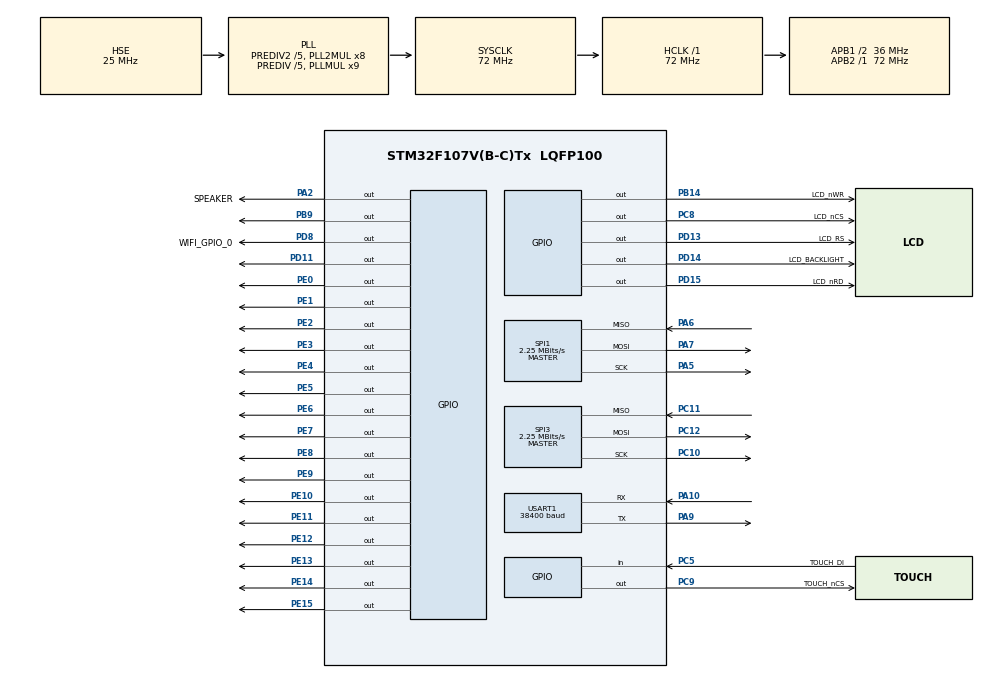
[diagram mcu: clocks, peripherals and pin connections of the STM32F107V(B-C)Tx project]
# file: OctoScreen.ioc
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Dma.Request0=USART1_RX
Dma.USART1_RX.0.Direction=DMA_PERIPH_TO_MEMORY
Dma.USART1_RX.0.Instance=DMA1_Channel5
Dma.USART1_RX.0.MemDataAlignment=DMA_MDATAALIGN_BYTE
Dma.USART1_RX.0.MemInc=DMA_MINC_ENABLE
Dma.USART1_RX.0.Mode=DMA_NORMAL
Dma.USART1_RX.0.PeriphDataAlignment=DMA_PDATAALIGN_BYTE
Dma.USART1_RX.0.PeriphInc=DMA_PINC_DISABLE
Dma.USART1_RX.0.Priority=DMA_PRIORITY_LOW
FREERTOS.HEAP_NUMBER=4
FREERTOS.Tasks01=defaultTask,0,512,StartDefaultTask,Default,NULL,Dynamic,NULL,NULL;serialTask,-1,512,StartSerialTask,Default,NULL,Dynamic,NULL,NULL
FREERTOS.configMINIMAL_STACK_SIZE=512
FREERTOS.configTOTAL_HEAP_SIZE=10240
Mcu.Family=STM32F1
Mcu.Name=STM32F107V(B-C)Tx
Mcu.Package=LQFP100
NVIC.DMA1_Channel5_IRQn=true\:5\:0\:false\:false\:true\:true\:false
NVIC.PriorityGroup=NVIC_PRIORITYGROUP_4
NVIC.TIM1_UP_IRQn=true\:0\:0\:false\:false\:true\:false\:false
NVIC.TimeBase=TIM1_UP_IRQn
NVIC.TimeBaseIP=TIM1
NVIC.USART1_IRQn=true\:5\:0\:false\:false\:true\:true\:true
OSC_IN.Mode=HSE-External-Oscillator
OSC_IN.Signal=RCC_OSC_IN
OSC_OUT.Mode=HSE-External-Oscillator
OSC_OUT.Signal=RCC_OSC_OUT
PA10.Mode=Asynchronous
PA10.Signal=USART1_RX
PA13.Mode=Serial_Wire
PA13.Signal=SYS_JTMS-SWDIO
PA14.Mode=Serial_Wire
PA14.Signal=SYS_JTCK-SWCLK
PA2.GPIO_Label=SPEAKER
PA2.PinState=GPIO_PIN_RESET
PA2.Signal=GPIO_Output
PA5.Mode=Full_Duplex_Master
PA5.Signal=SPI1_SCK
PA6.Mode=Full_Duplex_Master
PA6.Signal=SPI1_MISO
PA7.Mode=Full_Duplex_Master
PA7.Signal=SPI1_MOSI
PA9.Mode=Asynchronous
PA9.Signal=USART1_TX
PB14.GPIO_Label=LCD_nWR
PB14.GPIO_Speed=GPIO_SPEED_FREQ_HIGH
PB14.PinState=GPIO_PIN_SET
PB14.Signal=GPIO_Output
PB9.Signal=GPIO_Output
PC10.Mode=Full_Duplex_Master
PC10.Signal=SPI3_SCK
PC11.Mode=Full_Duplex_Master
PC11.Signal=SPI3_MISO
PC12.Mode=Full_Duplex_Master
PC12.Signal=SPI3_MOSI
PC5.GPIO_Label=TOUCH_DI
PC5.Signal=GPIO_Input
PC8.GPIO_Label=LCD_nCS
PC8.GPIO_Speed=GPIO_SPEED_FREQ_HIGH
PC8.PinState=GPIO_PIN_SET
PC8.Signal=GPIO_Output
PC9.GPIO_Label=TOUCH_nCS
PC9.GPIO_ModeDefaultOutputPP=GPIO_MODE_OUTPUT_PP
PC9.GPIO_Speed=GPIO_SPEED_FREQ_HIGH
PC9.PinState=GPIO_PIN_RESET
PC9.Signal=GPIO_Output
PD11.Signal=GPIO_Output
PD13.GPIO_Label=LCD_RS
PD13.GPIO_Speed=GPIO_SPEED_FREQ_HIGH
PD13.Signal=GPIO_Output
PD14.GPIO_Label=LCD_BACKLIGHT
PD14.Signal=GPIO_Output
PD15.GPIO_Label=LCD_nRD
PD15.GPIO_Speed=GPIO_SPEED_FREQ_HIGH
PD15.PinState=GPIO_PIN_SET
PD15.Signal=GPIO_Output
PD8.GPIO_Label=WIFI_GPIO_0
PD8.PinState=GPIO_PIN_SET
PD8.Signal=GPIO_Output
PE0.GPIO_ModeDefaultOutputPP=GPIO_MODE_OUTPUT_PP
PE0.GPIO_PuPd=GPIO_NOPULL
PE0.GPIO_Speed=GPIO_SPEED_FREQ_HIGH
PE0.PinState=GPIO_PIN_RESET
PE0.Signal=GPIO_Output
PE1.GPIO_ModeDefaultOutputPP=GPIO_MODE_OUTPUT_PP
PE1.GPIO_PuPd=GPIO_NOPULL
PE1.GPIO_Speed=GPIO_SPEED_FREQ_HIGH
PE1.PinState=GPIO_PIN_RESET
PE1.Signal=GPIO_Output
PE10.GPIO_ModeDefaultOutputPP=GPIO_MODE_OUTPUT_PP
PE10.GPIO_PuPd=GPIO_NOPULL
PE10.GPIO_Speed=GPIO_SPEED_FREQ_HIGH
PE10.PinState=GPIO_PIN_RESET
PE10.Signal=GPIO_Output
PE11.GPIO_ModeDefaultOutputPP=GPIO_MODE_OUTPUT_PP
PE11.GPIO_PuPd=GPIO_NOPULL
PE11.GPIO_Speed=GPIO_SPEED_FREQ_HIGH
PE11.PinState=GPIO_PIN_RESET
PE11.Signal=GPIO_Output
PE12.GPIO_ModeDefaultOutputPP=GPIO_MODE_OUTPUT_PP
PE12.GPIO_PuPd=GPIO_NOPULL
PE12.GPIO_Speed=GPIO_SPEED_FREQ_HIGH
PE12.PinState=GPIO_PIN_RESET
PE12.Signal=GPIO_Output
PE13.GPIO_ModeDefaultOutputPP=GPIO_MODE_OUTPUT_PP
PE13.GPIO_PuPd=GPIO_NOPULL
PE13.GPIO_Speed=GPIO_SPEED_FREQ_HIGH
PE13.PinState=GPIO_PIN_RESET
PE13.Signal=GPIO_Output
PE14.GPIO_ModeDefaultOutputPP=GPIO_MODE_OUTPUT_PP
PE14.GPIO_PuPd=GPIO_NOPULL
PE14.GPIO_Speed=GPIO_SPEED_FREQ_HIGH
PE14.PinState=GPIO_PIN_RESET
PE14.Signal=GPIO_Output
PE15.GPIO_ModeDefaultOutputPP=GPIO_MODE_OUTPUT_PP
PE15.GPIO_PuPd=GPIO_NOPULL
PE15.GPIO_Speed=GPIO_SPEED_FREQ_HIGH
PE15.PinState=GPIO_PIN_RESET
PE15.Signal=GPIO_Output
PE2.GPIO_ModeDefaultOutputPP=GPIO_MODE_OUTPUT_PP
PE2.GPIO_PuPd=GPIO_NOPULL
PE2.GPIO_Speed=GPIO_SPEED_FREQ_HIGH
PE2.PinState=GPIO_PIN_RESET
PE2.Signal=GPIO_Output
PE3.GPIO_ModeDefaultOutputPP=GPIO_MODE_OUTPUT_PP
PE3.GPIO_PuPd=GPIO_NOPULL
PE3.GPIO_Speed=GPIO_SPEED_FREQ_HIGH
PE3.PinState=GPIO_PIN_RESET
PE3.Signal=GPIO_Output
PE4.GPIO_ModeDefaultOutputPP=GPIO_MODE_OUTPUT_PP
PE4.GPIO_PuPd=GPIO_NOPULL
PE4.GPIO_Speed=GPIO_SPEED_FREQ_HIGH
PE4.PinState=GPIO_PIN_RESET
PE4.Signal=GPIO_Output
PE5.GPIO_ModeDefaultOutputPP=GPIO_MODE_OUTPUT_PP
PE5.GPIO_PuPd=GPIO_NOPULL
PE5.GPIO_Speed=GPIO_SPEED_FREQ_HIGH
PE5.PinState=GPIO_PIN_RESET
PE5.Signal=GPIO_Output
PE6.GPIO_ModeDefaultOutputPP=GPIO_MODE_OUTPUT_PP
PE6.GPIO_PuPd=GPIO_NOPULL
PE6.GPIO_Speed=GPIO_SPEED_FREQ_HIGH
PE6.PinState=GPIO_PIN_RESET
PE6.Signal=GPIO_Output
PE7.GPIO_ModeDefaultOutputPP=GPIO_MODE_OUTPUT_PP
PE7.GPIO_PuPd=GPIO_NOPULL
PE7.GPIO_Speed=GPIO_SPEED_FREQ_HIGH
PE7.PinState=GPIO_PIN_RESET
PE7.Signal=GPIO_Output
PE8.GPIO_ModeDefaultOutputPP=GPIO_MODE_OUTPUT_PP
PE8.GPIO_PuPd=GPIO_NOPULL
PE8.GPIO_Speed=GPIO_SPEED_FREQ_HIGH
PE8.PinState=GPIO_PIN_RESET
PE8.Signal=GPIO_Output
PE9.GPIO_ModeDefaultOutputPP=GPIO_MODE_OUTPUT_PP
PE9.GPIO_PuPd=GPIO_NOPULL
PE9.GPIO_Speed=GPIO_SPEED_FREQ_HIGH
PE9.PinState=GPIO_PIN_RESET
PE9.Signal=GPIO_Output
ProjectManager.HeapSize=0x200
ProjectManager.StackSize=0x400
ProjectManager.TargetToolchain=SW4STM32
RCC.AHBFreq_Value=72000000
RCC.APB1CLKDivider=RCC_HCLK_DIV2
RCC.APB1Freq_Value=36000000
RCC.APB1TimFreq_Value=72000000
RCC.APB2Freq_Value=72000000
RCC.APB2TimFreq_Value=72000000
RCC.HCLKFreq_Value=72000000
RCC.HSEDivPLL=RCC_HSE_PREDIV_DIV5
RCC.HSE_VALUE=25000000
RCC.PLLMUL=RCC_PLL_MUL9
RCC.PLLSourceVirtual=RCC_PLLSOURCE_HSE
RCC.Prediv1Source=RCC_PREDIV1_SOURCE_PLL2
RCC.Prediv2=RCC_HSE_PREDIV2_DIV5
RCC.SYSCLKFreq_VALUE=72000000
RCC.SYSCLKSource=RCC_SYSCLKSOURCE_PLLCLK
RCC.USBFreq_Value=48000000
SPI1.BaudRatePrescaler=SPI_BAUDRATEPRESCALER_32
SPI1.CalculateBaudRate=2.25 MBits/s
SPI1.Direction=SPI_DIRECTION_2LINES
SPI1.Mode=SPI_MODE_MASTER
SPI1.VirtualType=VM_MASTER
SPI3.BaudRatePrescaler=SPI_BAUDRATEPRESCALER_16
SPI3.CalculateBaudRate=2.25 MBits/s
SPI3.Direction=SPI_DIRECTION_2LINES
SPI3.Mode=SPI_MODE_MASTER
SPI3.VirtualType=VM_MASTER
USART1.BaudRate=38400
USART1.VirtualMode=VM_ASYNC
VP_FREERTOS_VS_ENABLE.Mode=Enabled
VP_SYS_VS_tim1.Mode=TIM1
board=custom

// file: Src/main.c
/**
  ******************************************************************************
  * @file           : main.c
  * @brief          : Main program body
  ******************************************************************************
  * This notice applies to any and all portions of this file
  * that are not between comment pairs USER CODE BEGIN and
  * USER CODE END. Other portions of this file, whether
  * inserted by the user or by software development tools
  * are owned by their respective copyright owners.
  *
  * Copyright (c) 2018 STMicroelectronics International N.V.
  * All rights reserved.
  *
  * Redistribution and use in source and binary forms, with or without
  * modification, are permitted, provided that the following conditions are met:
  *
  * 1. Redistribution of source code must retain the above copyright notice,
  *    this list of conditions and the following disclaimer.
  * 2. Redistributions in binary form must reproduce the above copyright notice,
  *    this list of conditions and the following disclaimer in the documentation
  *    and/or other materials provided with the distribution.
  * 3. Neither the name of STMicroelectronics nor the names of other
  *    contributors to this software may be used to endorse or promote products
  *    derived from this software without specific written permission.
  * 4. This software, including modifications and/or derivative works of this
  *    software, must execute solely and exclusively on microcontroller or
  *    microprocessor devices manufactured by or for STMicroelectronics.
  * 5. Redistribution and use of this software other than as permitted under
  *    this license is void and will automatically terminate your rights under
  *    this license.
  *
  * THIS SOFTWARE IS PROVIDED BY STMICROELECTRONICS AND CONTRIBUTORS "AS IS"
  * AND ANY EXPRESS, IMPLIED OR STATUTORY WARRANTIES, INCLUDING, BUT NOT
  * LIMITED TO, THE IMPLIED WARRANTIES OF MERCHANTABILITY, FITNESS FOR A
  * PARTICULAR PURPOSE AND NON-INFRINGEMENT OF THIRD PARTY INTELLECTUAL PROPERTY
  * RIGHTS ARE DISCLAIMED TO THE FULLEST EXTENT PERMITTED BY LAW. IN NO EVENT
  * SHALL STMICROELECTRONICS OR CONTRIBUTORS BE LIABLE FOR ANY DIRECT, INDIRECT,
  * INCIDENTAL, SPECIAL, EXEMPLARY, OR CONSEQUENTIAL DAMAGES (INCLUDING, BUT NOT
  * LIMITED TO, PROCUREMENT OF SUBSTITUTE GOODS OR SERVICES; LOSS OF USE, DATA,
  * OR PROFITS; OR BUSINESS INTERRUPTION) HOWEVER CAUSED AND ON ANY THEORY OF
  * LIABILITY, WHETHER IN CONTRACT, STRICT LIABILITY, OR TORT (INCLUDING
  * NEGLIGENCE OR OTHERWISE) ARISING IN ANY WAY OUT OF THE USE OF THIS SOFTWARE,
  * EVEN IF ADVISED OF THE POSSIBILITY OF SUCH DAMAGE.
  *
  ******************************************************************************
  */
#include "main.h"
#include "stm32f1xx_hal.h"
#include "cmsis_os.h"

/* USER CODE BEGIN Includes */
#include "Display.h"
#include "screens.h"
#include "lvgl/lvgl.h"
#include "xpt2046.h"
#include "DMA_CIRCULAR.h"
#include "serialCommands.h"

#include <stdlib.h>

/* USER CODE END Includes */

SPI_HandleTypeDef hspi1;
SPI_HandleTypeDef hspi3;

UART_HandleTypeDef huart1;
DMA_HandleTypeDef hdma_usart1_rx;

osThreadId defaultTaskHandle;
osThreadId serialTaskHandle;

/* USER CODE BEGIN PV */
/* Private variables ---------------------------------------------------------*/

uint8_t DMA_RX_Buffer[DMA_RX_BUFFER_SIZE];
uint8_t UART_Buffer[UART_BUFFER_SIZE];
uint8_t UART_Out_Buffer[UART_BUFFER_SIZE];
uint16_t UART_Out_Cnt = 0;

/* USER CODE END PV */

void SystemClock_Config(void);
static void MX_GPIO_Init(void);
static void MX_DMA_Init(void);
static void MX_SPI1_Init(void);
static void MX_SPI3_Init(void);
static void MX_USART1_UART_Init(void);
void StartDefaultTask(void const * argument);
void StartSerialTask(void const * argument);

/* USER CODE BEGIN PFP */
/* Private function prototypes -----------------------------------------------*/

/* USER CODE END PFP */

/* USER CODE BEGIN 0 */
void bing()
{
	  HAL_GPIO_TogglePin(SPEAKER_GPIO_Port, SPEAKER_Pin);
	  HAL_Delay(1);
	  HAL_GPIO_TogglePin(SPEAKER_GPIO_Port, SPEAKER_Pin);
}

void setupUartDma() {
	__HAL_UART_ENABLE_IT(&huart1, UART_IT_IDLE);   // enable idle line interrupt
	__HAL_DMA_ENABLE_IT (&hdma_usart1_rx, DMA_IT_TC);  // enable DMA Tx cplt interrupt

	volatile uint32_t tmp;                  /* Must be volatile to prevent optimizations */
	tmp = huart1.Instance->SR;                       /* Read status register */
	tmp = huart1.Instance->DR;                       /* Read data register */

	UNUSED(tmp);

	HAL_UART_Receive_DMA (&huart1, DMA_RX_Buffer, DMA_RX_BUFFER_SIZE);
	hdma_usart1_rx.Instance->CCR &= ~DMA_CCR_HTIE;  // disable uart half tx interrupt
}

/* USER CODE END 0 */

int main(void)
{

  /* MCU Configuration----------------------------------------------------------*/

  /* Reset of all peripherals, Initializes the Flash interface and the Systick. */
  HAL_Init();

  /* Configure the system clock */
  SystemClock_Config();

  /* USER CODE BEGIN SysInit */

  HAL_Delay(2000);

  /* USER CODE END SysInit */

  /* Initialize all configured peripherals */
  MX_GPIO_Init();
  MX_DMA_Init();
  MX_SPI1_Init();
  MX_SPI3_Init();
  MX_USART1_UART_Init();
  /* USER CODE BEGIN 2 */

  //bing();
  setupUartDma();
  HAL_Delay(1000);

  initDisplay();
  XPT2046_Touch_Init(320,240);
  initScreens();
  //bing();

  /* USER CODE END 2 */

  /* Create the thread(s) */
  /* definition and creation of defaultTask */
  osThreadDef(defaultTask, StartDefaultTask, osPriorityNormal, 0, 512);
  defaultTaskHandle = osThreadCreate(osThread(defaultTask), NULL);

  /* definition and creation of serialTask */
  osThreadDef(serialTask, StartSerialTask, osPriorityBelowNormal, 0, 512);
  serialTaskHandle = osThreadCreate(osThread(serialTask), NULL);

  /* Start scheduler */
  osKernelStart();

  /* We should never get here as control is now taken by the scheduler */

  /* Infinite loop */
  /* USER CODE BEGIN WHILE */

  while (1)
  {
	  osDelay(1000);
  /* USER CODE END WHILE */

  }

}

void SystemClock_Config(void)
{

  RCC_OscInitTypeDef RCC_OscInitStruct;
  RCC_ClkInitTypeDef RCC_ClkInitStruct;

    /**Initializes the CPU, AHB and APB busses clocks
    */
  RCC_OscInitStruct.OscillatorType = RCC_OSCILLATORTYPE_HSE;
  RCC_OscInitStruct.HSEState = RCC_HSE_ON;
  RCC_OscInitStruct.HSEPredivValue = RCC_HSE_PREDIV_DIV5;
  RCC_OscInitStruct.HSIState = RCC_HSI_ON;
  RCC_OscInitStruct.Prediv1Source = RCC_PREDIV1_SOURCE_PLL2;
  RCC_OscInitStruct.PLL.PLLState = RCC_PLL_ON;
  RCC_OscInitStruct.PLL.PLLSource = RCC_PLLSOURCE_HSE;
  RCC_OscInitStruct.PLL.PLLMUL = RCC_PLL_MUL9;
  RCC_OscInitStruct.PLL2.PLL2State = RCC_PLL2_ON;
  RCC_OscInitStruct.PLL2.PLL2MUL = RCC_PLL2_MUL8;
  RCC_OscInitStruct.PLL2.HSEPrediv2Value = RCC_HSE_PREDIV2_DIV5;
  if (HAL_RCC_OscConfig(&RCC_OscInitStruct) != HAL_OK)
  {
    _Error_Handler(__FILE__, __LINE__);
  }

    /**Initializes the CPU, AHB and APB busses clocks
    */
  RCC_ClkInitStruct.ClockType = RCC_CLOCKTYPE_HCLK|RCC_CLOCKTYPE_SYSCLK
                              |RCC_CLOCKTYPE_PCLK1|RCC_CLOCKTYPE_PCLK2;
  RCC_ClkInitStruct.SYSCLKSource = RCC_SYSCLKSOURCE_PLLCLK;
  RCC_ClkInitStruct.AHBCLKDivider = RCC_SYSCLK_DIV1;
  RCC_ClkInitStruct.APB1CLKDivider = RCC_HCLK_DIV2;
  RCC_ClkInitStruct.APB2CLKDivider = RCC_HCLK_DIV1;

  if (HAL_RCC_ClockConfig(&RCC_ClkInitStruct, FLASH_LATENCY_2) != HAL_OK)
  {
    _Error_Handler(__FILE__, __LINE__);
  }

    /**Configure the Systick interrupt time
    */
  HAL_SYSTICK_Config(HAL_RCC_GetHCLKFreq()/1000);

    /**Configure the Systick
    */
  HAL_SYSTICK_CLKSourceConfig(SYSTICK_CLKSOURCE_HCLK);

    /**Configure the Systick interrupt time
    */
  __HAL_RCC_PLLI2S_ENABLE();

  /* SysTick_IRQn interrupt configuration */
  HAL_NVIC_SetPriority(SysTick_IRQn, 15, 0);
}

/* SPI1 init function */
static void MX_SPI1_Init(void)
{

  /* SPI1 parameter configuration*/
  hspi1.Instance = SPI1;
  hspi1.Init.Mode = SPI_MODE_MASTER;
  hspi1.Init.Direction = SPI_DIRECTION_2LINES;
  hspi1.Init.DataSize = SPI_DATASIZE_8BIT;
  hspi1.Init.CLKPolarity = SPI_POLARITY_LOW;
  hspi1.Init.CLKPhase = SPI_PHASE_1EDGE;
  hspi1.Init.NSS = SPI_NSS_SOFT;
  hspi1.Init.BaudRatePrescaler = SPI_BAUDRATEPRESCALER_32;
  hspi1.Init.FirstBit = SPI_FIRSTBIT_MSB;
  hspi1.Init.TIMode = SPI_TIMODE_DISABLE;
  hspi1.Init.CRCCalculation = SPI_CRCCALCULATION_DISABLE;
  hspi1.Init.CRCPolynomial = 10;
  if (HAL_SPI_Init(&hspi1) != HAL_OK)
  {
    _Error_Handler(__FILE__, __LINE__);
  }

}

/* SPI3 init function */
static void MX_SPI3_Init(void)
{

  /* SPI3 parameter configuration*/
  hspi3.Instance = SPI3;
  hspi3.Init.Mode = SPI_MODE_MASTER;
  hspi3.Init.Direction = SPI_DIRECTION_2LINES;
  hspi3.Init.DataSize = SPI_DATASIZE_8BIT;
  hspi3.Init.CLKPolarity = SPI_POLARITY_LOW;
  hspi3.Init.CLKPhase = SPI_PHASE_1EDGE;
  hspi3.Init.NSS = SPI_NSS_SOFT;
  hspi3.Init.BaudRatePrescaler = SPI_BAUDRATEPRESCALER_16;
  hspi3.Init.FirstBit = SPI_FIRSTBIT_MSB;
  hspi3.Init.TIMode = SPI_TIMODE_DISABLE;
  hspi3.Init.CRCCalculation = SPI_CRCCALCULATION_DISABLE;
  hspi3.Init.CRCPolynomial = 10;
  if (HAL_SPI_Init(&hspi3) != HAL_OK)
  {
    _Error_Handler(__FILE__, __LINE__);
  }

}

/* USART1 init function */
static void MX_USART1_UART_Init(void)
{

  huart1.Instance = USART1;
  huart1.Init.BaudRate = 38400;
  huart1.Init.WordLength = UART_WORDLENGTH_8B;
  huart1.Init.StopBits = UART_STOPBITS_1;
  huart1.Init.Parity = UART_PARITY_NONE;
  huart1.Init.Mode = UART_MODE_TX_RX;
  huart1.Init.HwFlowCtl = UART_HWCONTROL_NONE;
  huart1.Init.OverSampling = UART_OVERSAMPLING_16;
  if (HAL_UART_Init(&huart1) != HAL_OK)
  {
    _Error_Handler(__FILE__, __LINE__);
  }

}

static void MX_DMA_Init(void)
{
  /* DMA controller clock enable */
  __HAL_RCC_DMA1_CLK_ENABLE();

  /* DMA interrupt init */
  /* DMA1_Channel5_IRQn interrupt configuration */
  HAL_NVIC_SetPriority(DMA1_Channel5_IRQn, 5, 0);
  HAL_NVIC_EnableIRQ(DMA1_Channel5_IRQn);

}

/** Configure pins as
        * Analog
        * Input
        * Output
        * EVENT_OUT
        * EXTI
*/
static void MX_GPIO_Init(void)
{

  GPIO_InitTypeDef GPIO_InitStruct;

  /* GPIO Ports Clock Enable */
  __HAL_RCC_GPIOE_CLK_ENABLE();
  __HAL_RCC_GPIOA_CLK_ENABLE();
  __HAL_RCC_GPIOC_CLK_ENABLE();
  __HAL_RCC_GPIOB_CLK_ENABLE();
  __HAL_RCC_GPIOD_CLK_ENABLE();

  /*Configure GPIO pin Output Level */
  HAL_GPIO_WritePin(GPIOE, GPIO_PIN_2|GPIO_PIN_3|GPIO_PIN_4|GPIO_PIN_5
                          |GPIO_PIN_6|GPIO_PIN_7|GPIO_PIN_8|GPIO_PIN_9
                          |GPIO_PIN_10|GPIO_PIN_11|GPIO_PIN_12|GPIO_PIN_13
                          |GPIO_PIN_14|GPIO_PIN_15|GPIO_PIN_0|GPIO_PIN_1, GPIO_PIN_RESET);

  /*Configure GPIO pin Output Level */
  HAL_GPIO_WritePin(SPEAKER_GPIO_Port, SPEAKER_Pin, GPIO_PIN_RESET);

  /*Configure GPIO pin Output Level */
  HAL_GPIO_WritePin(LCD_nWR_GPIO_Port, LCD_nWR_Pin, GPIO_PIN_SET);

  /*Configure GPIO pin Output Level */
  HAL_GPIO_WritePin(GPIOD, WIFI_GPIO_0_Pin|LCD_nRD_Pin, GPIO_PIN_SET);

  /*Configure GPIO pin Output Level */
  HAL_GPIO_WritePin(GPIOD, GPIO_PIN_11|LCD_RS_Pin|LCD_BACKLIGHT_Pin, GPIO_PIN_RESET);

  /*Configure GPIO pin Output Level */
  HAL_GPIO_WritePin(LCD_nCS_GPIO_Port, LCD_nCS_Pin, GPIO_PIN_SET);

  /*Configure GPIO pin Output Level */
  HAL_GPIO_WritePin(TOUCH_nCS_GPIO_Port, TOUCH_nCS_Pin, GPIO_PIN_RESET);

  /*Configure GPIO pin Output Level */
  HAL_GPIO_WritePin(GPIOB, GPIO_PIN_9, GPIO_PIN_RESET);

  /*Configure GPIO pins : PE2 PE3 PE4 PE5
                           PE6 PE7 PE8 PE9
                           PE10 PE11 PE12 PE13
                           PE14 PE15 PE0 PE1 */
  GPIO_InitStruct.Pin = GPIO_PIN_2|GPIO_PIN_3|GPIO_PIN_4|GPIO_PIN_5
                          |GPIO_PIN_6|GPIO_PIN_7|GPIO_PIN_8|GPIO_PIN_9
                          |GPIO_PIN_10|GPIO_PIN_11|GPIO_PIN_12|GPIO_PIN_13
                          |GPIO_PIN_14|GPIO_PIN_15|GPIO_PIN_0|GPIO_PIN_1;
  GPIO_InitStruct.Mode = GPIO_MODE_OUTPUT_PP;
  GPIO_InitStruct.Pull = GPIO_NOPULL;
  GPIO_InitStruct.Speed = GPIO_SPEED_FREQ_HIGH;
  HAL_GPIO_Init(GPIOE, &GPIO_InitStruct);

  /*Configure GPIO pin : SPEAKER_Pin */
  GPIO_InitStruct.Pin = SPEAKER_Pin;
  GPIO_InitStruct.Mode = GPIO_MODE_OUTPUT_PP;
  GPIO_InitStruct.Pull = GPIO_NOPULL;
  GPIO_InitStruct.Speed = GPIO_SPEED_FREQ_LOW;
  HAL_GPIO_Init(SPEAKER_GPIO_Port, &GPIO_InitStruct);

  /*Configure GPIO pin : TOUCH_DI_Pin */
  GPIO_InitStruct.Pin = TOUCH_DI_Pin;
  GPIO_InitStruct.Mode = GPIO_MODE_INPUT;
  GPIO_InitStruct.Pull = GPIO_NOPULL;
  HAL_GPIO_Init(TOUCH_DI_GPIO_Port, &GPIO_InitStruct);

  /*Configure GPIO pin : LCD_nWR_Pin */
  GPIO_InitStruct.Pin = LCD_nWR_Pin;
  GPIO_InitStruct.Mode = GPIO_MODE_OUTPUT_PP;
  GPIO_InitStruct.Pull = GPIO_NOPULL;
  GPIO_InitStruct.Speed = GPIO_SPEED_FREQ_HIGH;
  HAL_GPIO_Init(LCD_nWR_GPIO_Port, &GPIO_InitStruct);

  /*Configure GPIO pins : WIFI_GPIO_0_Pin PD11 LCD_BACKLIGHT_Pin */
  GPIO_InitStruct.Pin = WIFI_GPIO_0_Pin|GPIO_PIN_11|LCD_BACKLIGHT_Pin;
  GPIO_InitStruct.Mode = GPIO_MODE_OUTPUT_PP;
  GPIO_InitStruct.Pull = GPIO_NOPULL;
  GPIO_InitStruct.Speed = GPIO_SPEED_FREQ_LOW;
  HAL_GPIO_Init(GPIOD, &GPIO_InitStruct);

  /*Configure GPIO pins : LCD_RS_Pin LCD_nRD_Pin */
  GPIO_InitStruct.Pin = LCD_RS_Pin|LCD_nRD_Pin;
  GPIO_InitStruct.Mode = GPIO_MODE_OUTPUT_PP;
  GPIO_InitStruct.Pull = GPIO_NOPULL;
  GPIO_InitStruct.Speed = GPIO_SPEED_FREQ_HIGH;
  HAL_GPIO_Init(GPIOD, &GPIO_InitStruct);

  /*Configure GPIO pins : LCD_nCS_Pin TOUCH_nCS_Pin */
  GPIO_InitStruct.Pin = LCD_nCS_Pin|TOUCH_nCS_Pin;
  GPIO_InitStruct.Mode = GPIO_MODE_OUTPUT_PP;
  GPIO_InitStruct.Pull = GPIO_NOPULL;
  GPIO_InitStruct.Speed = GPIO_SPEED_FREQ_HIGH;
  HAL_GPIO_Init(GPIOC, &GPIO_InitStruct);

  /*Configure GPIO pin : PB9 */
  GPIO_InitStruct.Pin = GPIO_PIN_9;
  GPIO_InitStruct.Mode = GPIO_MODE_OUTPUT_PP;
  GPIO_InitStruct.Pull = GPIO_NOPULL;
  GPIO_InitStruct.Speed = GPIO_SPEED_FREQ_LOW;
  HAL_GPIO_Init(GPIOB, &GPIO_InitStruct);

}

/* USER CODE BEGIN 4 */

bool startsWith(const char *pre, const char *str)
{
    size_t lenpre = strlen(pre),
           lenstr = strlen(str);
    return lenstr < lenpre ? false : strncmp(pre, str, lenpre) == 0;
}

void processMessage(char *msg) {
	if (startsWith("TEMP_BED_ACT ", msg)) {
		float val = atof(msg+13);
		setTempBedActual(val);
	} else if (startsWith("TEMP_BED_TAR ", msg)) {
		float val = atof(msg+13);
		setTempBedTarget(val);
	} else if (startsWith("TEMP_TOOL_ACT ", msg)) {
		float val = atof(msg+14);
		setTempToolActual(val);
	} else if (startsWith("TEMP_TOOL_TAR ", msg)) {
		float val = atof(msg+14);
		setTempToolTarget(val);
	} else if (startsWith("Z ", msg)) {
		float val = atof(msg+2);
		setZHeight(val);
	} else if (startsWith("PROGRESS ", msg)) {
		float val = atof(msg+9);
		setProgress(val);
	} else if (startsWith("TIME ", msg)) {
		uint16_t val = atoi(msg+5);
		setPrintTime(val);
	} else if (startsWith("TIME_LEFT ", msg)) {
		uint16_t val = atoi(msg+10);
		setPrintTimeLeft(val);
	} else if (startsWith("JOB ", msg)) {
		setJob(msg+4);
	} else if (startsWith("STATUS ", msg)) {
		setStatus(msg+7);
	} else if (startsWith("FOLDER ", msg)) {
		setFolder(msg+7);
	} else if (startsWith("FOLDER_ENTRY_COUNT ", msg)) {
		uint16_t val = atoi(msg+19);
		setFolderCount(val);
	} else if (startsWith("FOLDER_ENTRY ", msg)) {
		char* no = msg+13;
		char* entry = no;
		while ((entry[0] >= '0') && (entry[0] <= '9')) {
			entry++;
		}
		if  (entry[0] == ' ') {
			entry[0]='\0';
			entry++;
			uint16_t val = atoi(no);
			setFolderEntry(val, entry);
		}
	}/*else {
		setMessage(msg);
	}*/
}

/* USER CODE END 4 */

void StartDefaultTask(void const * argument)
{

  /* USER CODE BEGIN 5 */

  /* Infinite loop */
  uint32_t cnt = 0;
  int init_sent = 0;
  for(;;)  {
	  cnt++;
	  lv_tick_inc(2);
	  osDelay(1);
	  if (cnt % 5 == 0) {
		  lv_task_handler();
	  }
	  if (cnt % 2500 == 0) {
	  	rotateLabels();
	  }
	  if ((init_sent == 0) && (cnt > 5000)) {
		  cmdInit();
		  init_sent = 1;
	  }

	  //uint16_t x,y,z;

	  // use for calibration
	  /*XPT2046_Touch_Get_Raw_Data(&x, &y, &z);
	  char buf[64];
	  if (z > 700) {
		  snprintf(buf,64,"X=%d Y=%d Z=%d",x,y,z);
		  setCalMessage(buf);
	  }*/
	  // use for calibration validation
	  /*char buf[64];
	  if (XPT2046_Touch_Get_Data(&x, &y, &z)) {
		  snprintf(buf,64,"X=%d Y=%d Z=%d",x,y,z);
		  setCalMessage(buf);
	  }*/

  }
  /* USER CODE END 5 */
}

void StartSerialTask(void const * argument)
{
  /* USER CODE BEGIN StartSerialTask */
  /* Infinite loop */
  uint16_t uartBufPos = 0;
  char line[UART_BUFFER_SIZE];
  line[0] = '\0';
  uint16_t linePos = 0;
  for(;;)
  {
	  while (UART_Buffer[uartBufPos] != '\0') {
		  if (UART_Buffer[uartBufPos] == '\n') {
			  line[linePos] = '\0';
			  //setMessage(line);
			  processMessage(line);
			  linePos = 0;
		  } else {
			  line[linePos] = UART_Buffer[uartBufPos];
			  linePos++;
			  if (linePos == UART_BUFFER_SIZE) {
				  linePos = 0;
			  }
		  }
		  uartBufPos++;
		  if (uartBufPos == UART_BUFFER_SIZE) {
			  uartBufPos = 0;
		  }
	  }

	  if (UART_Out_Cnt > 0) {
		  HAL_UART_Transmit(&huart1, (uint8_t*)UART_Out_Buffer, UART_Out_Cnt, 1000);
		  UART_Out_Cnt = 0;
	  }
	  osDelay(10);
  }
  /* USER CODE END StartSerialTask */
}

void HAL_TIM_PeriodElapsedCallback(TIM_HandleTypeDef *htim)
{
  if (htim->Instance == TIM1) {
    HAL_IncTick();
  }
}

void _Error_Handler(char *file, int line)
{
  while(1)
  {
  }
}

/************************ (C) COPYRIGHT STMicroelectronics *****END OF FILE****/
